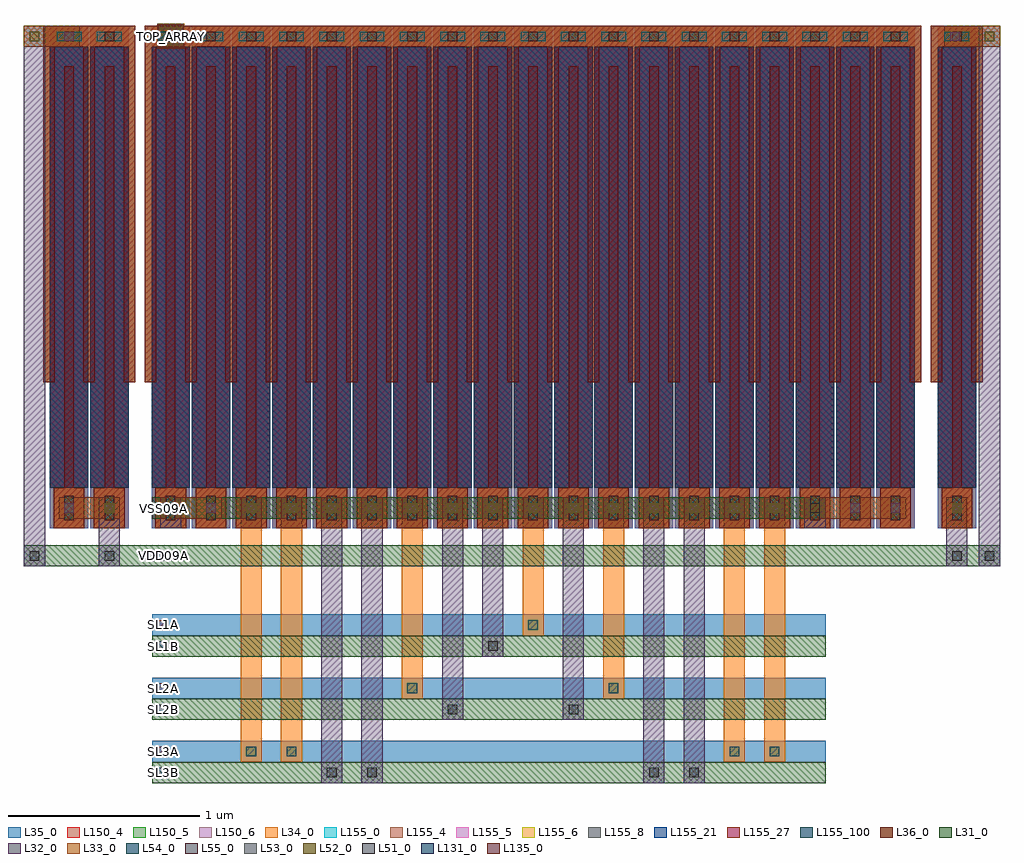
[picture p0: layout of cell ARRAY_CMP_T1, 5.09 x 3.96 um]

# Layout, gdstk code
from math import pi, radians
import gdstk
lib = gdstk.Library(unit=1e-6, precision=1e-09)
def R(c, l, rs):  # rectangles x0, y0, x1, y1
    for r in rs: c.add(gdstk.rectangle(r[:2], r[2:], *l))
def A(c, l, x, y, w, h, nx, ny, dx, dy):  # array of equal rectangles
    R(c, l, [(x+i*dx, y+j*dy, x+i*dx+w, y+j*dy+h) for i in range(nx) for j in range(ny)])
L31_0 = (31, 0)
L32_0 = (32, 0)
L33_0 = (33, 0)
L34_0 = (34, 0)
L35_0 = (35, 0)
L36_0 = (36, 0)
L51_0 = (51, 0)
L52_0 = (52, 0)
L53_0 = (53, 0)
L54_0 = (54, 0)
L55_0 = (55, 0)
L131_0 = (131, 0)
L135_0 = (135, 0)
L150_4 = (150, 4)
L150_5 = (150, 5)
L150_6 = (150, 6)
L155_0 = (155, 0)
L155_4 = (155, 4)
L155_5 = (155, 5)
L155_6 = (155, 6)
L155_8 = (155, 8)
L155_21 = (155, 21)
L155_27 = (155, 27)
L155_100 = (155, 100)

m5_m4_cdns_616906553687 = lib.new_cell('M5_M4_CDNS_616906553687')
R(m5_m4_cdns_616906553687, L34_0, [(-0.07,-0.105,0.07,0.105)])
R(m5_m4_cdns_616906553687, L35_0, [(-0.07,-0.105,0.07,0.105)])
R(m5_m4_cdns_616906553687, L54_0, [(-0.025,-0.065,0.025,0.065)])

m6_m5_cdns_616906553688 = lib.new_cell('M6_M5_CDNS_616906553688')
R(m6_m5_cdns_616906553688, L35_0, [(-0.07,-0.105,0.07,0.105)])
R(m6_m5_cdns_616906553688, L36_0, [(-0.055,-0.105,0.055,0.105)])
R(m6_m5_cdns_616906553688, L55_0, [(-0.025,-0.065,0.025,0.065)])

m5_m4_cdns_616906553689 = lib.new_cell('M5_M4_CDNS_616906553689')
R(m5_m4_cdns_616906553689, L34_0, [(-0.095,-0.055,0.095,0.055)])
R(m5_m4_cdns_616906553689, L35_0, [(-0.12,-0.055,0.12,0.055)])
R(m5_m4_cdns_616906553689, L54_0, [(-0.065,-0.025,0.065,0.025)])

m6_m5_cdns_6169065536810 = lib.new_cell('M6_M5_CDNS_6169065536810')
R(m6_m5_cdns_6169065536810, L35_0, [(-0.055,-0.055,0.055,0.055)])
R(m6_m5_cdns_6169065536810, L36_0, [(-0.055,-0.055,0.055,0.055)])
R(m6_m5_cdns_6169065536810, L55_0, [(-0.025,-0.025,0.025,0.025)])

cu1f = lib.new_cell('CU1F')
R(cu1f, L34_0, [(0.02,0,0.18,0.21), (-0.035,2.51,0.235,2.62)])
R(cu1f, L35_0, [(0.02,0,0.18,0.21), (-0.035,2.51,0.235,2.62)])
R(cu1f, L36_0, [(0.02,0,0.18,0.21), (-0.035,2.51,0.235,2.62)])
R(cu1f, L150_4, [(0,0,0.2,2.62)])
R(cu1f, L150_5, [(0,0,0.2,2.62)])
R(cu1f, L150_6, [(0,0,0.2,2.62)])
R(cu1f, L155_0, [(0,0.21,0.2,2.51)])
R(cu1f, L155_4, [(0,0.21,0.2,2.51)])
R(cu1f, L155_5, [(0,0.21,0.2,2.51)])
R(cu1f, L155_6, [(0,0.21,0.2,2.51)])
R(cu1f, L155_8, [(0,0.21,0.2,2.51)])
R(cu1f, L155_21, [(0,0.21,0.2,2.51)])
R(cu1f, L155_27, [(0,0.21,0.2,2.51)])
R(cu1f, L155_100, [(0,0.21,0.2,2.51)])
cu1f.add(gdstk.FlexPath([(0.205,2.59),(0.205,0.76)], 0.06, ends=(0.03, 0), simple_path=True, layer=34, datatype=0))  # L34_0
cu1f.add(gdstk.FlexPath([(0.1,2.41),(0.1,0)], 0.05, ends="flush", simple_path=True, layer=34, datatype=0))  # L34_0
cu1f.add(gdstk.FlexPath([(-0.005,2.59),(-0.005,0.76)], 0.06, ends=(0.03, 0), simple_path=True, layer=34, datatype=0))  # L34_0
cu1f.add(gdstk.FlexPath([(0.205,0.76),(0.205,2.59)], 0.06, ends=(0, 0.03), simple_path=True, layer=35, datatype=0))  # L35_0
cu1f.add(gdstk.FlexPath([(0.1,2.41),(0.1,0)], 0.05, ends="flush", simple_path=True, layer=35, datatype=0))  # L35_0
cu1f.add(gdstk.FlexPath([(-0.005,0.76),(-0.005,2.59)], 0.06, ends=(0, 0.03), simple_path=True, layer=35, datatype=0))  # L35_0
cu1f.add(gdstk.FlexPath([(0.205,0.76),(0.205,2.59)], 0.06, ends=(0, 0.03), simple_path=True, layer=36, datatype=0))  # L36_0
cu1f.add(gdstk.FlexPath([(0.1,2.41),(0.1,0)], 0.05, ends="flush", simple_path=True, layer=36, datatype=0))  # L36_0
cu1f.add(gdstk.FlexPath([(-0.005,0.76),(-0.005,2.59)], 0.06, ends=(0, 0.03), simple_path=True, layer=36, datatype=0))  # L36_0
cu1f.add(gdstk.Reference(m5_m4_cdns_616906553687, (0.1,0.105), rotation=pi, x_reflection=True))
cu1f.add(gdstk.Reference(m6_m5_cdns_616906553688, (0.1,0.105), rotation=pi, x_reflection=True))
cu1f.add(gdstk.Reference(m5_m4_cdns_616906553689, (0.1,2.565)))
cu1f.add(gdstk.Reference(m6_m5_cdns_6169065536810, (0.1,2.565)))

m2_m1_cdns_616906553680 = lib.new_cell('M2_M1_CDNS_616906553680')
R(m2_m1_cdns_616906553680, L31_0, [(-0.055,-0.055,0.055,0.055)])
R(m2_m1_cdns_616906553680, L32_0, [(-0.055,-0.055,0.055,0.055)])
R(m2_m1_cdns_616906553680, L51_0, [(-0.025,-0.025,0.025,0.025)])

m3_m2_cdns_616906553681 = lib.new_cell('M3_M2_CDNS_616906553681')
R(m3_m2_cdns_616906553681, L32_0, [(-0.055,-0.055,0.055,0.055)])
R(m3_m2_cdns_616906553681, L33_0, [(-0.055,-0.055,0.055,0.055)])
R(m3_m2_cdns_616906553681, L52_0, [(-0.025,-0.025,0.025,0.025)])

m4_m3_cdns_616906553682 = lib.new_cell('M4_M3_CDNS_616906553682')
R(m4_m3_cdns_616906553682, L33_0, [(-0.055,-0.055,0.055,0.055)])
R(m4_m3_cdns_616906553682, L34_0, [(-0.055,-0.055,0.055,0.055)])
R(m4_m3_cdns_616906553682, L53_0, [(-0.025,-0.025,0.025,0.025)])

m4_m3_cdns_616906553683 = lib.new_cell('M4_M3_CDNS_616906553683')
R(m4_m3_cdns_616906553683, L33_0, [(-0.07,-0.065,0.07,0.065)])
R(m4_m3_cdns_616906553683, L34_0, [(-0.055,-0.055,0.055,0.055)])
R(m4_m3_cdns_616906553683, L53_0, [(-0.025,-0.025,0.025,0.025)])

m3_m2_cdns_616906553684 = lib.new_cell('M3_M2_CDNS_616906553684')
R(m3_m2_cdns_616906553684, L32_0, [(-0.065,-0.06,0.065,0.06)])
R(m3_m2_cdns_616906553684, L33_0, [(-0.07,-0.065,0.07,0.065)])
R(m3_m2_cdns_616906553684, L52_0, [(-0.025,-0.025,0.025,0.025)])

m2_m1_cdns_616906553685 = lib.new_cell('M2_M1_CDNS_616906553685')
R(m2_m1_cdns_616906553685, L31_0, [(-0.055,-0.055,0.055,0.055)])
R(m2_m1_cdns_616906553685, L32_0, [(-0.065,-0.06,0.065,0.06)])
R(m2_m1_cdns_616906553685, L51_0, [(-0.025,-0.025,0.025,0.025)])

m5_m4_cdns_616906553686 = lib.new_cell('M5_M4_CDNS_616906553686')
R(m5_m4_cdns_616906553686, L34_0, [(-0.055,-0.055,0.055,0.055)])
R(m5_m4_cdns_616906553686, L35_0, [(-0.055,-0.055,0.055,0.055)])
R(m5_m4_cdns_616906553686, L54_0, [(-0.025,-0.025,0.025,0.025)])

array_cmp_t1 = lib.new_cell('ARRAY_CMP_T1')
A(array_cmp_t1, L31_0, 0.535, -1.33, 3.51, 0.11, 1, 3, 0, 0.33)
R(array_cmp_t1, L31_0, [(-0.135,-0.2,4.955,-0.09), (0.535,0.05,4.045,0.16), (0.56,2.5,0.7,2.63)])
R(array_cmp_t1, L32_0, [(1.415,-1.33,1.525,0.16), (1.625,-1.33,1.735,0.16), (3.095,-1.33,3.205,0.16), (3.305,-1.33,3.415,0.16), (2.045,-1,2.155,0.16), (2.675,-1,2.785,0.16), (2.255,-0.67,2.365,0.16), (-0.135,-0.2,-0.025,2.62), (0.255,-0.2,0.365,0.16), (4.675,-0.2,4.785,0.16), (4.845,-0.2,4.955,2.62), (0.575,0,0.685,0.16), (3.935,0,4.045,0.16)])
A(array_cmp_t1, L33_0, 0.995, 0, 0.11, 0.16, 14, 1, 0.21, 0)
R(array_cmp_t1, L33_0, [(4.675,0,4.785,0.16), (0.045,0.05,0.365,0.16), (0.575,0.05,0.895,0.16), (3.935,0.05,4.465,0.16), (-0.135,2.51,0.155,2.62), (4.665,2.51,4.955,2.62)])
R(array_cmp_t1, L34_0, [(0.995,-1.22,1.105,0.16), (1.205,-1.22,1.315,0.16), (3.515,-1.22,3.625,0.16), (3.725,-1.22,3.835,0.16), (1.835,-0.89,1.945,0.16), (2.885,-0.89,2.995,0.16), (2.465,-0.56,2.575,0.16)])
A(array_cmp_t1, L35_0, 0.535, -1.22, 3.51, 0.11, 1, 3, 0, 0.33)
A(array_cmp_t1, L131_0, 0.565, -1.3, 0.05, 0.05, 1, 3, 0, 0.33)
R(array_cmp_t1, L131_0, [(0.565,-0.17,0.615,-0.12), (0.565,0.08,0.615,0.13), (0.605,2.54,0.655,2.59)])
A(array_cmp_t1, L135_0, 0.565, -1.19, 0.05, 0.05, 1, 3, 0, 0.33)
array_cmp_t1.add(gdstk.Reference(cu1f, (0,0)))
array_cmp_t1.add(gdstk.Reference(cu1f, (0.21,0)))
array_cmp_t1.add(gdstk.Reference(cu1f, (0.53,0)))
array_cmp_t1.add(gdstk.Reference(cu1f, (0.74,0)))
array_cmp_t1.add(gdstk.Reference(cu1f, (4.63,0)))
array_cmp_t1.add(gdstk.Reference(cu1f, (4.31,0)))
array_cmp_t1.add(gdstk.Reference(cu1f, (4.1,0)))
array_cmp_t1.add(gdstk.Reference(cu1f, (3.89,0)))
array_cmp_t1.add(gdstk.Reference(cu1f, (3.68,0)))
array_cmp_t1.add(gdstk.Reference(cu1f, (3.47,0)))
array_cmp_t1.add(gdstk.Reference(cu1f, (3.26,0)))
array_cmp_t1.add(gdstk.Reference(cu1f, (3.05,0)))
array_cmp_t1.add(gdstk.Reference(cu1f, (2.84,0)))
array_cmp_t1.add(gdstk.Reference(cu1f, (2.63,0)))
array_cmp_t1.add(gdstk.Reference(cu1f, (2.42,0)))
array_cmp_t1.add(gdstk.Reference(cu1f, (2.21,0)))
array_cmp_t1.add(gdstk.Reference(cu1f, (2,0)))
array_cmp_t1.add(gdstk.Reference(cu1f, (1.79,0)))
array_cmp_t1.add(gdstk.Reference(cu1f, (1.58,0)))
array_cmp_t1.add(gdstk.Reference(cu1f, (1.37,0)))
array_cmp_t1.add(gdstk.Reference(cu1f, (1.16,0)))
array_cmp_t1.add(gdstk.Reference(cu1f, (0.95,0)))
array_cmp_t1.add(gdstk.Reference(m2_m1_cdns_616906553680, (4.9,-0.145)))
array_cmp_t1.add(gdstk.Reference(m2_m1_cdns_616906553680, (-0.08,-0.145)))
array_cmp_t1.add(gdstk.Reference(m2_m1_cdns_616906553680, (3.99,0.105)))
array_cmp_t1.add(gdstk.Reference(m2_m1_cdns_616906553680, (4.73,-0.145)))
array_cmp_t1.add(gdstk.Reference(m2_m1_cdns_616906553680, (0.31,-0.145)))
array_cmp_t1.add(gdstk.Reference(m2_m1_cdns_616906553680, (2.31,-0.615)))
array_cmp_t1.add(gdstk.Reference(m2_m1_cdns_616906553680, (2.1,-0.945)))
array_cmp_t1.add(gdstk.Reference(m2_m1_cdns_616906553680, (2.73,-0.945)))
array_cmp_t1.add(gdstk.Reference(m2_m1_cdns_616906553680, (1.68,-1.275)))
array_cmp_t1.add(gdstk.Reference(m2_m1_cdns_616906553680, (1.47,-1.275)))
array_cmp_t1.add(gdstk.Reference(m2_m1_cdns_616906553680, (3.15,-1.275)))
array_cmp_t1.add(gdstk.Reference(m2_m1_cdns_616906553680, (3.36,-1.275)))
array_cmp_t1.add(gdstk.Reference(m2_m1_cdns_616906553680, (0.63,0.105)))
array_cmp_t1.add(gdstk.Reference(m3_m2_cdns_616906553681, (4.9,2.565)))
array_cmp_t1.add(gdstk.Reference(m3_m2_cdns_616906553681, (-0.08,2.565)))
array_cmp_t1.add(gdstk.Reference(m3_m2_cdns_616906553681, (1.05,0.105)))
array_cmp_t1.add(gdstk.Reference(m3_m2_cdns_616906553681, (1.26,0.105)))
array_cmp_t1.add(gdstk.Reference(m3_m2_cdns_616906553681, (1.47,0.105)))
array_cmp_t1.add(gdstk.Reference(m3_m2_cdns_616906553681, (1.68,0.105)))
array_cmp_t1.add(gdstk.Reference(m3_m2_cdns_616906553681, (1.89,0.105)))
array_cmp_t1.add(gdstk.Reference(m3_m2_cdns_616906553681, (2.1,0.105)))
array_cmp_t1.add(gdstk.Reference(m3_m2_cdns_616906553681, (2.31,0.105)))
array_cmp_t1.add(gdstk.Reference(m3_m2_cdns_616906553681, (2.52,0.105)))
array_cmp_t1.add(gdstk.Reference(m3_m2_cdns_616906553681, (2.73,0.105)))
array_cmp_t1.add(gdstk.Reference(m3_m2_cdns_616906553681, (2.94,0.105)))
array_cmp_t1.add(gdstk.Reference(m3_m2_cdns_616906553681, (3.15,0.105)))
array_cmp_t1.add(gdstk.Reference(m3_m2_cdns_616906553681, (3.36,0.105)))
array_cmp_t1.add(gdstk.Reference(m3_m2_cdns_616906553681, (3.57,0.105)))
array_cmp_t1.add(gdstk.Reference(m3_m2_cdns_616906553681, (3.78,0.105)))
array_cmp_t1.add(gdstk.Reference(m3_m2_cdns_616906553681, (4.73,0.105)))
array_cmp_t1.add(gdstk.Reference(m3_m2_cdns_616906553681, (3.99,0.105)))
array_cmp_t1.add(gdstk.Reference(m3_m2_cdns_616906553681, (0.63,0.105)))
array_cmp_t1.add(gdstk.Reference(m3_m2_cdns_616906553681, (0.31,0.105)))
array_cmp_t1.add(gdstk.Reference(m4_m3_cdns_616906553682, (4.72,2.565), rotation=pi, x_reflection=True))
array_cmp_t1.add(gdstk.Reference(m4_m3_cdns_616906553682, (0.1,2.565)))
array_cmp_t1.add(gdstk.Reference(m4_m3_cdns_616906553682, (1.05,0.105)))
array_cmp_t1.add(gdstk.Reference(m4_m3_cdns_616906553682, (1.26,0.105)))
array_cmp_t1.add(gdstk.Reference(m4_m3_cdns_616906553682, (1.47,0.105)))
array_cmp_t1.add(gdstk.Reference(m4_m3_cdns_616906553682, (1.68,0.105)))
array_cmp_t1.add(gdstk.Reference(m4_m3_cdns_616906553682, (1.89,0.105)))
array_cmp_t1.add(gdstk.Reference(m4_m3_cdns_616906553682, (2.1,0.105)))
array_cmp_t1.add(gdstk.Reference(m4_m3_cdns_616906553682, (2.31,0.105)))
array_cmp_t1.add(gdstk.Reference(m4_m3_cdns_616906553682, (2.52,0.105)))
array_cmp_t1.add(gdstk.Reference(m4_m3_cdns_616906553682, (2.73,0.105)))
array_cmp_t1.add(gdstk.Reference(m4_m3_cdns_616906553682, (2.94,0.105)))
array_cmp_t1.add(gdstk.Reference(m4_m3_cdns_616906553682, (3.15,0.105)))
array_cmp_t1.add(gdstk.Reference(m4_m3_cdns_616906553682, (3.36,0.105)))
array_cmp_t1.add(gdstk.Reference(m4_m3_cdns_616906553682, (3.57,0.105)))
array_cmp_t1.add(gdstk.Reference(m4_m3_cdns_616906553682, (3.78,0.105)))
array_cmp_t1.add(gdstk.Reference(m4_m3_cdns_616906553682, (4.73,0.105)))
array_cmp_t1.add(gdstk.Reference(m4_m3_cdns_616906553682, (4.2,0.105)))
array_cmp_t1.add(gdstk.Reference(m4_m3_cdns_616906553682, (4.41,0.105)))
array_cmp_t1.add(gdstk.Reference(m4_m3_cdns_616906553682, (3.99,0.105)))
array_cmp_t1.add(gdstk.Reference(m4_m3_cdns_616906553682, (0.84,0.105)))
array_cmp_t1.add(gdstk.Reference(m4_m3_cdns_616906553682, (0.63,0.105)))
array_cmp_t1.add(gdstk.Reference(m4_m3_cdns_616906553682, (0.1,0.105)))
array_cmp_t1.add(gdstk.Reference(m4_m3_cdns_616906553682, (0.31,0.105)))
array_cmp_t1.add(gdstk.Reference(m4_m3_cdns_616906553683, (0.63,2.565)))
array_cmp_t1.add(gdstk.Reference(m3_m2_cdns_616906553684, (0.63,2.565)))
array_cmp_t1.add(gdstk.Reference(m2_m1_cdns_616906553685, (0.63,2.565)))
array_cmp_t1.add(gdstk.Reference(m5_m4_cdns_616906553686, (1.89,-0.835)))
array_cmp_t1.add(gdstk.Reference(m5_m4_cdns_616906553686, (2.94,-0.835)))
array_cmp_t1.add(gdstk.Reference(m5_m4_cdns_616906553686, (2.52,-0.505)))
array_cmp_t1.add(gdstk.Reference(m5_m4_cdns_616906553686, (3.78,-1.165)))
array_cmp_t1.add(gdstk.Reference(m5_m4_cdns_616906553686, (1.26,-1.165)))
array_cmp_t1.add(gdstk.Reference(m5_m4_cdns_616906553686, (3.57,-1.165)))
array_cmp_t1.add(gdstk.Reference(m5_m4_cdns_616906553686, (1.05,-1.165)))
array_cmp_t1.add(gdstk.Label('SL3A', (0.59,-1.165), layer=135, texttype=0))
array_cmp_t1.add(gdstk.Label('SL1A', (0.59,-0.505), layer=135, texttype=0))
array_cmp_t1.add(gdstk.Label('SL2A', (0.59,-0.835), layer=135, texttype=0))
array_cmp_t1.add(gdstk.Label('VDD09A', (0.59,-0.145), layer=131, texttype=0))
array_cmp_t1.add(gdstk.Label('SL3B', (0.59,-1.275), layer=131, texttype=0))
array_cmp_t1.add(gdstk.Label('VSS09A', (0.59,0.105), layer=131, texttype=0))
array_cmp_t1.add(gdstk.Label('SL1B', (0.59,-0.615), layer=131, texttype=0))
array_cmp_t1.add(gdstk.Label('SL2B', (0.59,-0.945), layer=131, texttype=0))
array_cmp_t1.add(gdstk.Label('TOP_ARRAY', (0.628,2.565), layer=131, texttype=0))

lib.write_gds('ARRAY_CMP_T1.gds')
